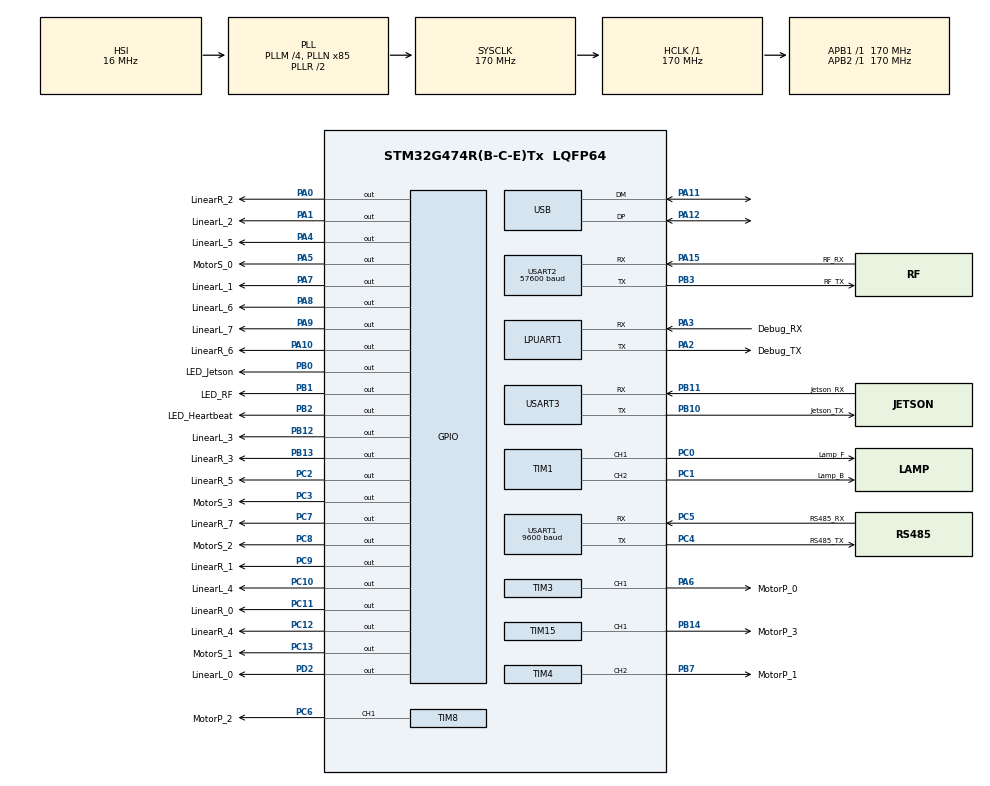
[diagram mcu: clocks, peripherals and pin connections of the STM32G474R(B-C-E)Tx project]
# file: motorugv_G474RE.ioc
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Mcu.Family=STM32G4
Mcu.Name=STM32G474R(B-C-E)Tx
Mcu.Package=LQFP64
NVIC.PriorityGroup=NVIC_PRIORITYGROUP_4
NVIC.USART1_IRQn=true\:0\:0\:false\:false\:true\:true\:true\:true
NVIC.USART2_IRQn=true\:0\:0\:false\:false\:true\:true\:true\:true
NVIC.USART3_IRQn=true\:0\:0\:false\:false\:true\:true\:true\:true
PA0.GPIO_Label=LinearR_2
PA0.Signal=GPIO_Output
PA1.GPIO_Label=LinearL_2
PA1.Signal=GPIO_Output
PA10.GPIO_Label=LinearR_6
PA10.Signal=GPIO_Output
PA11.Mode=Device
PA11.Signal=USB_DM
PA12.Mode=Device
PA12.Signal=USB_DP
PA13.GPIO_Label=T_SWDIO
PA13.Mode=Serial_Wire
PA13.Signal=SYS_JTMS-SWDIO
PA14.GPIO_Label=T_SWCLK
PA14.Mode=Serial_Wire
PA14.Signal=SYS_JTCK-SWCLK
PA15.GPIO_Label=RF_RX
PA15.Mode=Asynchronous
PA15.Signal=USART2_RX
PA2.GPIO_Label=Debug_TX
PA2.Mode=Asynchronous
PA2.Signal=LPUART1_TX
PA3.GPIO_Label=Debug_RX
PA3.Mode=Asynchronous
PA3.Signal=LPUART1_RX
PA4.GPIO_Label=LinearL_5
PA4.Signal=GPIO_Output
PA5.GPIO_Label=MotorS_0
PA5.Signal=GPIO_Output
PA6.GPIO_Label=MotorP_0
PA6.Signal=S_TIM3_CH1
PA7.GPIO_Label=LinearL_1
PA7.Signal=GPIO_Output
PA8.GPIO_Label=LinearL_6
PA8.Signal=GPIO_Output
PA9.GPIO_Label=LinearL_7
PA9.Signal=GPIO_Output
PB0.GPIO_Label=LED_Jetson
PB0.Signal=GPIO_Output
PB1.GPIO_Label=LED_RF
PB1.Signal=GPIO_Output
PB10.GPIO_Label=Jetson_TX
PB10.Mode=Asynchronous
PB10.Signal=USART3_TX
PB11.GPIO_Label=Jetson_RX
PB11.GPIO_PuPd=GPIO_PULLUP
PB11.Mode=Asynchronous
PB11.Signal=USART3_RX
PB12.GPIO_Label=LinearL_3
PB12.Signal=GPIO_Output
PB13.GPIO_Label=LinearR_3
PB13.Signal=GPIO_Output
PB14.GPIO_Label=MotorP_3
PB14.Signal=S_TIM15_CH1
PB2.GPIO_Label=LED_Heartbeat
PB2.Signal=GPIO_Output
PB3.GPIO_Label=RF_TX
PB3.GPIO_PuPd=GPIO_PULLUP
PB3.Mode=Asynchronous
PB3.Signal=USART2_TX
PB7.GPIO_Label=MotorP_1
PB7.Signal=S_TIM4_CH2
PC0.GPIO_Label=Lamp_F
PC0.Signal=S_TIM1_CH1
PC1.GPIO_Label=Lamp_B
PC1.Signal=S_TIM1_CH2
PC10.GPIO_Label=LinearL_4
PC10.Signal=GPIO_Output
PC11.GPIO_Label=LinearR_0
PC11.Signal=GPIO_Output
PC12.GPIO_Label=LinearR_4
PC12.Signal=GPIO_Output
PC13.GPIO_Label=MotorS_1
PC13.Signal=GPIO_Output
PC2.GPIO_Label=LinearR_5
PC2.Signal=GPIO_Output
PC3.GPIO_Label=MotorS_3
PC3.Signal=GPIO_Output
PC4.GPIO_Label=RS485_TX
PC4.Mode=Asynchronous
PC4.Signal=USART1_TX
PC5.GPIO_Label=RS485_RX
PC5.GPIO_PuPd=GPIO_PULLUP
PC5.Mode=Asynchronous
PC5.Signal=USART1_RX
PC6.GPIO_Label=MotorP_2
PC6.Signal=S_TIM8_CH1
PC7.GPIO_Label=LinearR_7
PC7.Signal=GPIO_Output
PC8.GPIO_Label=MotorS_2
PC8.Signal=GPIO_Output
PC9.GPIO_Label=LinearR_1
PC9.Signal=GPIO_Output
PD2.GPIO_Label=LinearL_0
PD2.Signal=GPIO_Output
ProjectManager.HeapSize=0x200
ProjectManager.StackSize=0x400
ProjectManager.TargetToolchain=STM32CubeIDE
RCC.ADC12Freq_Value=170000000
RCC.ADC345Freq_Value=170000000
RCC.AHBFreq_Value=170000000
RCC.APB1Freq_Value=170000000
RCC.APB1TimFreq_Value=170000000
RCC.APB2Freq_Value=170000000
RCC.APB2TimFreq_Value=170000000
RCC.CortexFreq_Value=170000000
RCC.EXTERNAL_CLOCK_VALUE=12288000
RCC.HCLKFreq_Value=170000000
RCC.HSE_VALUE=24000000
RCC.HSI48_VALUE=48000000
RCC.HSI_VALUE=16000000
RCC.LSE_VALUE=32768
RCC.PLLM=RCC_PLLM_DIV4
RCC.PLLN=85
RCC.RTCClockSelection=RCC_RTCCLKSOURCE_LSE
RCC.SYSCLKFreq_VALUE=170000000
RCC.SYSCLKSource=RCC_SYSCLKSOURCE_PLLCLK
RCC.USBFreq_Value=170000000
RCC.VCOOutputFreq_Value=340000000
SH.S_TIM15_CH1.0=TIM15_CH1,Output Compare1 CH1
SH.S_TIM1_CH1.0=TIM1_CH1,PWM Generation1 CH1
SH.S_TIM1_CH2.0=TIM1_CH2,PWM Generation2 CH2
SH.S_TIM3_CH1.0=TIM3_CH1,Output Compare1 CH1
SH.S_TIM4_CH2.0=TIM4_CH2,Output Compare2 CH2
SH.S_TIM8_CH1.0=TIM8_CH1,Output Compare1 CH1
TIM1.Channel-PWM\ Generation1\ CH1=TIM_CHANNEL_1
TIM1.Channel-PWM\ Generation2\ CH2=TIM_CHANNEL_2
TIM15.Channel-Output\ Compare1\ CH1=TIM_CHANNEL_1
TIM15.OCMode_1=TIM_OCMODE_TOGGLE
TIM3.Channel-Output\ Compare1\ CH1=TIM_CHANNEL_1
TIM3.OCMode_1=TIM_OCMODE_TOGGLE
TIM4.Channel-Output\ Compare2\ CH2=TIM_CHANNEL_2
TIM4.OCMode_2=TIM_OCMODE_TOGGLE
TIM8.Channel-Output\ Compare1\ CH1=TIM_CHANNEL_1
TIM8.OCMode_1=TIM_OCMODE_TOGGLE
USART1.BaudRate=9600
USART1.VirtualMode-Asynchronous=VM_ASYNC
USART2.BaudRate=57600
USART2.VirtualMode-Asynchronous=VM_ASYNC
USART3.VirtualMode-Asynchronous=VM_ASYNC
VP_SYS_VS_DBSignals.Mode=DisableDeadBatterySignals
board=NUCLEO-G474RE

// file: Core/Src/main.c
/* USER CODE BEGIN Header */
/**
  ******************************************************************************
  * @file           : main.c
  * @brief          : Main program body
  ******************************************************************************
  * @attention
  *
  * Copyright (c) 2026 STMicroelectronics.
  * All rights reserved.
  *
  * This software is licensed under terms that can be found in the LICENSE file
  * in the root directory of this software component.
  * If no LICENSE file comes with this software, it is provided AS-IS.
  *
  ******************************************************************************
  */
/* USER CODE END Header */
#include "main.h"

/* USER CODE BEGIN Includes */
#include <stdarg.h>
#include <stdio.h>
#include <stdlib.h>
#include <string.h>
/* USER CODE END Includes */

/* USER CODE BEGIN PTD */

typedef struct {
    uint8_t estop;
    int8_t  xJoy1;
    int8_t  yJoy1;
    int8_t  xJoy2;
    int8_t  yJoy2;
    int8_t  zoom;
    uint8_t lrf;
    uint8_t fLamp;
    uint8_t bLamp;
    uint8_t slipRing;
    int8_t  bodyUpDown;
    uint8_t motorIndividualId;
    int8_t  motorIndividualArah;
    uint8_t kalibrasi;
} GcsCommand_t;

/* Command final dari Jetson (Core Node udah mutusin) - lihat brief Fase 4 */
typedef struct {
    int8_t  speed;
    int8_t  act[8];
    uint8_t fLamp;
    uint8_t bLamp;
    uint8_t bLampMode;
    int8_t  pantiltHorizontal;
    int8_t  pantiltVertical;
    int8_t  kameraZoom;
    uint8_t slipRing;
    uint8_t lrfTrigger;
    uint8_t gcsReplyStm32Status;
    uint8_t gcsReplyLrfStatus;
    uint8_t gcsReplyLrfLsb;
    uint8_t gcsReplyLrfMsb;
} JetsonCommand_t;
/* USER CODE END PTD */

/* USER CODE BEGIN PD */
#define JUMLAH_MOTOR        4U
#define JUMLAH_ACTUATOR     8U

#define FREQ_PER_RPM        50U
#define TIMER_CLOCK_HZ      170000000UL   /* HSI 16MHz -> PLL -> 170MHz, SAMA buat semua timer (APB1/APB2 prescaler 1) */

#define LAMP_PWM_ARR        3399U   /* 170MHz / (3400*50) = 1kHz, prescaler 49 (di-set manual di USER CODE 2) */

#define BLINK_INTERVAL_MS   250U
#define LAMPU_MATI          0U
#define LAMPU_NYALA         1U
#define LAMPU_KEDIP         2U

#define RS485_TIMEOUT_MS    100U
#define ALAMAT_KAMERA       1U
#define ALAMAT_BRIDGE_LRF   2U
#define CMD2_BACA_JARAK     0x01U
#define CMD2_POINTER        0x02U

#define GCS_FRAME_LEN       14U  /* estop+xj1+yj1+xj2+yj2+zoom+lrf+flamp+blamp+slipring+bodyupdown+motorid+motorarah+kalibrasi (mode & armWidenNarrow dihapus, gak dipakai) */

#define GCS_REPLY_MARKER    0xA5U /* byte pertama balasan GCS - biar RFLink di gcs_app bisa deteksi frame geser/rusak di udara (RF gak seideal kabel langsung) */
#define GCS_REPLY_LEN       6U    /* marker+stm32_status+lrf_status+lrf_lsb+lrf_msb+checksum(XOR ke-4 byte data) */

#define JETSON_DOWN_LEN     21U  /* Jetson -> STM32: speed+8act+flamp+blamp+blampmode+pantiltH+pantiltV+zoom+slipring+lrftrigger+4 gcsreply */
#define JETSON_UP_LEN       18U  /* STM32 -> Jetson: 14 byte relay GCS + lrf_lsb+lrf_msb+lrf_status+stm32_status */

#define LRF_TRIGGER_IDLE       0U
#define LRF_TRIGGER_BACA_JARAK 1U
#define LRF_TRIGGER_POINTER_ON 2U
#define LRF_TRIGGER_POINTER_OFF 3U

#define LINK_TIMEOUT_MS      500U  /* LED mati + failsafe stop kalau gak ada frame Jetson valid selama ini */
#define HEARTBEAT_INTERVAL_MS 500U

#define UART_TX_TIMEOUT_MS   50U   /* batas HAL_UART_Transmit - jangan HAL_MAX_DELAY, biar main loop gak bisa hang selamanya */
/* USER CODE END PD */

UART_HandleTypeDef hlpuart1;
UART_HandleTypeDef huart1;
UART_HandleTypeDef huart2;
UART_HandleTypeDef huart3;

TIM_HandleTypeDef htim1;
TIM_HandleTypeDef htim3;
TIM_HandleTypeDef htim4;
TIM_HandleTypeDef htim8;
TIM_HandleTypeDef htim15;

PCD_HandleTypeDef hpcd_USB_FS;

/* USER CODE BEGIN PV */
typedef struct {
    GPIO_TypeDef *portRPWM;
    uint16_t      pinRPWM;
    GPIO_TypeDef *portLPWM;
    uint16_t      pinLPWM;
} ActuatorPin_t;

static const ActuatorPin_t actuatorTable[JUMLAH_ACTUATOR] = {
    /* 0  */ { LinearR_0_GPIO_Port,  LinearR_0_Pin,  LinearL_0_GPIO_Port,  LinearL_0_Pin  },
    /* 1  */ { LinearR_1_GPIO_Port,  LinearR_1_Pin,  LinearL_1_GPIO_Port,  LinearL_1_Pin  },
    /* 2  */ { LinearR_2_GPIO_Port,  LinearR_2_Pin,  LinearL_2_GPIO_Port,  LinearL_2_Pin  },
    /* 3  */ { LinearR_3_GPIO_Port,  LinearR_3_Pin,  LinearL_3_GPIO_Port,  LinearL_3_Pin  },
    /* 4  */ { LinearR_4_GPIO_Port,  LinearR_4_Pin,  LinearL_4_GPIO_Port,  LinearL_4_Pin  },
    /* 5  */ { LinearR_5_GPIO_Port,  LinearR_5_Pin,  LinearL_5_GPIO_Port,  LinearL_5_Pin  },
    /* 6  */ { LinearR_6_GPIO_Port,  LinearR_6_Pin,  LinearL_6_GPIO_Port,  LinearL_6_Pin  },
    /* 7  */ { LinearR_7_GPIO_Port,  LinearR_7_Pin,  LinearL_7_GPIO_Port,  LinearL_7_Pin  },
};

/* TODO: proteksi stall - durasi maks HIGH per actuator belum ditentukan.
 * Isi array ini nanti kalau sudah ada angka pasti dari tes fisik, lalu
 * tambah pengecekan di main loop mirip CekWatchdog(). */
static uint32_t waktuMulaiAktif[JUMLAH_ACTUATOR];
static int8_t   arahTerakhir[JUMLAH_ACTUATOR];
static const int8_t ARAH_FISIK_MOTOR[JUMLAH_MOTOR] = {1, -1, 1, -1};

volatile uint8_t statusLampuBelakang = LAMPU_MATI;
uint8_t lampuBelakangBrightness = 0;
uint32_t waktuBlinkTerakhir = 0;
uint8_t statusBlinkSekarang = 0;

/* ---- Komunikasi GCS/RF (USART2, 14 byte request / 4 byte reply) ---- */
static uint8_t gcsRxBuf[GCS_FRAME_LEN];
static uint8_t gcsFrameKerja[GCS_FRAME_LEN];
volatile uint8_t gcsFrameSiap = 0;
static uint8_t gcsFrameTerakhir[GCS_FRAME_LEN];      /* buat di-relay ke Jetson */
static uint8_t gcsBalasanCache[4] = {1U, 0U, 0U, 0U}; /* diisi Jetson lewat down-frame, default aman */

/* ---- Komunikasi Jetson (USART3, 21 byte down / 18 byte up) ---- */
static uint8_t jetsonRxBuf[JETSON_DOWN_LEN];
static uint8_t jetsonFrameKerja[JETSON_DOWN_LEN];
volatile uint8_t jetsonFrameSiap = 0;
static uint16_t lrfJarakTerakhir = 0;
static uint8_t  lrfStatusTerakhir = 0;

/* ---- LED indikator (heartbeat + status link) ---- */
static uint32_t waktuFrameJetsonTerakhir = 0;
static uint32_t waktuFrameGcsTerakhir = 0;
static uint32_t waktuHeartbeatTerakhir = 0;
static uint8_t  statusHeartbeat = 0;

/* ---- Anti-spam RS485 (cuma kirim pas berubah) - file-scope biar bisa
 * dipicu paksa ke STOP dari failsafe di main loop juga, gak cuma dari
 * JetsonApplyCommand. Sentinel awal DILUAR rentang valid biar frame
 * pertama pasti dianggap "berubah". */
static int8_t  pantiltHorizontalTerakhir = 127;
static int8_t  pantiltVerticalTerakhir = 127;
static int8_t  kameraZoomTerakhir = 127;
static uint8_t slipRingTerakhir = 0xFFU;
static uint8_t lrfPointerTerakhir = 0xFFU;

/* USER CODE END PV */

void SystemClock_Config(void);
static void MX_GPIO_Init(void);
static void MX_TIM1_Init(void);
static void MX_TIM3_Init(void);
static void MX_TIM4_Init(void);
static void MX_USART1_UART_Init(void);
static void MX_USART2_UART_Init(void);
static void MX_USART3_UART_Init(void);
static void MX_TIM8_Init(void);
static void MX_TIM15_Init(void);
static void MX_USB_PCD_Init(void);
static void MX_LPUART1_UART_Init(void);
/* USER CODE BEGIN PFP */
static void SetActuator(uint8_t index, int8_t dir);
static void StopSemuaActuator(void);
static void setPulseFreq(TIM_HandleTypeDef *htim, uint32_t channel, int32_t speed);
static void setMotor(uint8_t index, int32_t speedWheelSpace);
static void stopSemuaMotor(void);
static void Lamp_SetBrightness(TIM_HandleTypeDef *htim, uint32_t channel, uint8_t percent);
static void setLampuBelakang(uint8_t brightness, uint8_t state);
static void DebugPrint(const char *format, ...);

static void RS485_KirimFrame(const uint8_t *frame, uint8_t panjang);

static uint8_t Pantilt_Checksum(const uint8_t *payload5);
static void Pantilt_Kirim(const uint8_t *payload5);
static void Pantilt_Gerak(int8_t horizontal, int8_t vertical);
static void Pantilt_PowerSlipRing(uint8_t nyala);

static uint8_t Pelco_Checksum(uint8_t alamat, uint8_t cmd1, uint8_t cmd2, uint8_t data1, uint8_t data2);
static void Pelco_Kirim(uint8_t alamat, uint8_t cmd1, uint8_t cmd2, uint8_t data1, uint8_t data2);
static void Kamera_ZoomIn(void);
static void Kamera_ZoomOut(void);
static void Kamera_ZoomStop(void);

static void BridgeLrf_Kirim(uint8_t cmd2, uint8_t data1, uint8_t data2);
static uint8_t BridgeLrf_BacaRespons(uint8_t *cmd2Out, uint8_t *data1Out, uint8_t *data2Out);
static uint8_t BridgeLrf_BacaJarak(uint16_t *jarakDesimeterOut);
static uint8_t BridgeLrf_Pointer(uint8_t nyala);

static void GcsParseFrame(const uint8_t *frame14, GcsCommand_t *out);
static void JetsonParseFrame(const uint8_t *frame24, JetsonCommand_t *out);
static void JetsonApplyCommand(const JetsonCommand_t *cmd);
static void JetsonBangunUpFrame(uint8_t *frameOut18);

/* USER CODE END PFP */

/* USER CODE BEGIN 0 */
/* ============================================================================
 * LAYER 1 - nyentuh hardware langsung
 * ==========================================================================*/

static void SetActuator(uint8_t index, int8_t dir) {
    if (index >= JUMLAH_ACTUATOR) return;
    const ActuatorPin_t *a = &actuatorTable[index];

    if (dir > 0) {
        HAL_GPIO_WritePin(a->portRPWM, a->pinRPWM, GPIO_PIN_SET);
        HAL_GPIO_WritePin(a->portLPWM, a->pinLPWM, GPIO_PIN_RESET);
    } else if (dir < 0) {
        HAL_GPIO_WritePin(a->portRPWM, a->pinRPWM, GPIO_PIN_RESET);
        HAL_GPIO_WritePin(a->portLPWM, a->pinLPWM, GPIO_PIN_SET);
    } else {
        HAL_GPIO_WritePin(a->portRPWM, a->pinRPWM, GPIO_PIN_RESET);
        HAL_GPIO_WritePin(a->portLPWM, a->pinLPWM, GPIO_PIN_RESET);
    }

    if (dir != arahTerakhir[index]) {
        waktuMulaiAktif[index] = HAL_GetTick();
        arahTerakhir[index] = dir;
    }
}

static void setPulseFreq(TIM_HandleTypeDef *htim, uint32_t channel, int32_t speed) {
    if (speed == 0) {
        HAL_TIM_OC_Stop(htim, channel);
        return;
    }
    uint32_t freqHz = (uint32_t)(abs(speed)) * FREQ_PER_RPM;
    uint32_t maxArr = 65535UL;
    uint32_t prescaler = 1;
    uint32_t arr;
    do {
        arr = (TIMER_CLOCK_HZ / (2UL * prescaler * freqHz));
        if (arr > 0) arr -= 1;
        if (arr <= maxArr) break;
        prescaler *= 2;
    } while (prescaler < 65536UL);
    __HAL_TIM_SET_PRESCALER(htim, prescaler - 1);
    __HAL_TIM_SET_AUTORELOAD(htim, arr);
    HAL_TIM_OC_Start(htim, channel);
}

static void Lamp_SetBrightness(TIM_HandleTypeDef *htim, uint32_t channel, uint8_t percent) {
    if (percent > 100U) percent = 100U;
    uint32_t ccr = ((uint32_t)percent * (LAMP_PWM_ARR + 1U)) / 100U;
    __HAL_TIM_SET_COMPARE(htim, channel, ccr);
}

/* ============================================================================
 * LAYER 2 - grouping, manggil Layer 1
 * ==========================================================================*/

static void StopSemuaActuator(void) {
    for (uint8_t i = 0; i < JUMLAH_ACTUATOR; i++) {
        SetActuator(i, 0);
    }
}

static void setMotor(uint8_t index, int32_t speedWheelSpace) {
    if (speedWheelSpace > 100) speedWheelSpace = 100;
    if (speedWheelSpace < -100) speedWheelSpace = -100;
    int8_t arahPulsa = (speedWheelSpace >= 0 ? 1 : -1) * ARAH_FISIK_MOTOR[index];
    GPIO_PinState levelSign = (arahPulsa >= 0) ? GPIO_PIN_SET : GPIO_PIN_RESET;
    switch (index) {
        case 0:
            HAL_GPIO_WritePin(MotorS_0_GPIO_Port, MotorS_0_Pin, levelSign);
            setPulseFreq(&htim3, TIM_CHANNEL_1, speedWheelSpace);
            break;
        case 1:
            HAL_GPIO_WritePin(MotorS_1_GPIO_Port, MotorS_1_Pin, levelSign);
            setPulseFreq(&htim4, TIM_CHANNEL_2, speedWheelSpace);
            break;
        case 2:
            HAL_GPIO_WritePin(MotorS_2_GPIO_Port, MotorS_2_Pin, levelSign);
            setPulseFreq(&htim8, TIM_CHANNEL_1, speedWheelSpace);
            break;
        case 3:
            HAL_GPIO_WritePin(MotorS_3_GPIO_Port, MotorS_3_Pin, levelSign);
            setPulseFreq(&htim15, TIM_CHANNEL_1, speedWheelSpace);
            break;
        default:
            break;
    }
}

static void stopSemuaMotor(void) {
    for (uint8_t i = 0; i < JUMLAH_MOTOR; i++) {
        setMotor(i, 0);
    }
}

static void setLampuBelakang(uint8_t brightness, uint8_t state) {
    if (state > LAMPU_KEDIP) state = LAMPU_KEDIP;
    if (brightness > 100U) brightness = 100U;

    statusLampuBelakang = state;
    lampuBelakangBrightness = brightness;

    if (state == LAMPU_MATI) {
        Lamp_SetBrightness(&htim1, TIM_CHANNEL_2, 0);
    } else if (state == LAMPU_NYALA) {
        Lamp_SetBrightness(&htim1, TIM_CHANNEL_2, brightness);
    }
    /* LAMPU_KEDIP: gak di-set di sini - main loop yang toggle brightness<->0 */
}

/* ============================================================================
 * DEBUG - print lewat LPUART1 (ST-LINK VCP)
 * ==========================================================================*/

static void DebugPrint(const char *format, ...)
{
    char buffer[128];
    va_list args;
    va_start(args, format);
    int panjang = vsnprintf(buffer, sizeof(buffer), format, args);
    va_end(args);
    HAL_UART_Transmit(&hlpuart1, (uint8_t *)buffer, (uint16_t)panjang, UART_TX_TIMEOUT_MS);
}

/* ============================================================================
 * RS485 - pantilt + kamera + LRF-bridge, 1 bus fisik bareng (USART1, 9600)
 * ==========================================================================*/

static void RS485_KirimFrame(const uint8_t *frame, uint8_t panjang) {
    HAL_UART_Transmit(&huart1, (uint8_t *)frame, panjang, UART_TX_TIMEOUT_MS);
}

/* ---- Pantilt (protokol custom, hasil reverse-engineer - lihat
 * test_bus_pantilt_kamera_lrf.py) ---- */

static uint8_t Pantilt_Checksum(const uint8_t *payload5) {
    uint8_t sum = 0;
    for (uint8_t i = 0; i < 5U; i++) {
        if (payload5[i] != 0xFFU) sum += payload5[i];
    }
    return sum;
}

static void Pantilt_Kirim(const uint8_t *payload5) {
    uint8_t frame[7];
    frame[0] = 0xFF;
    for (uint8_t i = 0; i < 5U; i++) frame[1U + i] = payload5[i];
    frame[6] = Pantilt_Checksum(payload5);
    RS485_KirimFrame(frame, 7U);
}

/* cmd2 itu bitmask arah (ketauan dari pola lama: kiri=0x04, kanan=0x02,
 * atas=0x08, bawah=0x10 - masing-masing 1 bit terpisah), jadi horizontal
 * & vertical bisa di-OR bareng buat gerak diagonal. data1=kecepatan
 * horizontal (dipakai kalau ada gerak kiri/kanan), data2=kecepatan
 * vertical (dipakai kalau ada gerak atas/bawah) - keduanya bisa aktif
 * bareng buat diagonal. */
static void Pantilt_Gerak(int8_t horizontal, int8_t vertical) {
    uint8_t cmd2 = 0x00;
    uint8_t data1 = 0x00;
    uint8_t data2 = 0x00;

    if (horizontal > 0) {
        cmd2 |= 0x02U; /* kanan */
        data1 = 0x3FU;
    } else if (horizontal < 0) {
        cmd2 |= 0x04U; /* kiri */
        data1 = 0x3FU;
    }

    if (vertical > 0) {
        cmd2 |= 0x08U; /* atas */
        data2 = 0x3FU;
    } else if (vertical < 0) {
        cmd2 |= 0x10U; /* bawah */
        data2 = 0x3FU;
    }

    uint8_t payload5[5] = { 0x00, 0x00, cmd2, data1, data2 };
    Pantilt_Kirim(payload5);
}

static void Pantilt_PowerSlipRing(uint8_t nyala) {
    uint8_t payload5[5] = { 0x00, 0x00, (uint8_t)(nyala ? 0x09U : 0x0BU), 0x00, 0x02 };
    Pantilt_Kirim(payload5);
}

/* BELUM DIIMPLEMENTASI (sengaja) - pantilt sebenernya BISA dibaca sudutnya,
 * beda dari command gerak/slip ring yang emang gak pernah balas. Referensi:
 * Testcode/test_bus_pantilt_kamera_lrf.py -> pantilt_baca_sudut().
 * Kirim payload5 = {0x00,0x00,cmd2,0x00,0x00}, cmd2: 0x51=azimuth, 0x53=elevasi.
 * Baca respons 7 byte (pola sama kayak Pantilt_Kirim, checksum pakai
 * Pantilt_Checksum), payload[3] & payload[4] = data encoder mentah, lalu:
 *   elevasi = 2.694879023302476*data[3] + 1.1455831934909497*data[4]/100 - 73.36566910656754
 *   azimuth = 2.447221740538158*data[3] + (-2.2315937758949502)*data[4]/100 - 69.7511885011599
 * Kalau nanti mau diimplementasi: butuh field trigger baru di down-frame
 * Jetson (mirip lrfTrigger) + field balik di up-frame buat hasil sudutnya. */

/* ---- Kamera + LRF-bridge, sama-sama bungkus Pelco-D (lihat
 * test_bus_pantilt_kamera_lrf.py) ---- */

static uint8_t Pelco_Checksum(uint8_t alamat, uint8_t cmd1, uint8_t cmd2, uint8_t data1, uint8_t data2) {
    return (uint8_t)(alamat + cmd1 + cmd2 + data1 + data2);
}

static void Pelco_Kirim(uint8_t alamat, uint8_t cmd1, uint8_t cmd2, uint8_t data1, uint8_t data2) {
    uint8_t frame[7];
    frame[0] = 0xFF;
    frame[1] = alamat;
    frame[2] = cmd1;
    frame[3] = cmd2;
    frame[4] = data1;
    frame[5] = data2;
    frame[6] = Pelco_Checksum(alamat, cmd1, cmd2, data1, data2);
    RS485_KirimFrame(frame, 7U);
}

static void Kamera_ZoomIn(void)   { Pelco_Kirim(ALAMAT_KAMERA, 0x00, 0x20, 0x00, 0x00); }
static void Kamera_ZoomOut(void)  { Pelco_Kirim(ALAMAT_KAMERA, 0x00, 0x40, 0x00, 0x00); }
static void Kamera_ZoomStop(void) { Pelco_Kirim(ALAMAT_KAMERA, 0x00, 0x00, 0x00, 0x00); }

static void BridgeLrf_Kirim(uint8_t cmd2, uint8_t data1, uint8_t data2) {
    Pelco_Kirim(ALAMAT_BRIDGE_LRF, 0x00, cmd2, data1, data2);
}

static uint8_t BridgeLrf_BacaRespons(uint8_t *cmd2Out, uint8_t *data1Out, uint8_t *data2Out) {
    uint8_t frame[7];
    if (HAL_UART_Receive(&huart1, frame, 7U, RS485_TIMEOUT_MS) != HAL_OK) return 0U;
    if (Pelco_Checksum(frame[1], frame[2], frame[3], frame[4], frame[5]) != frame[6]) return 0U;
    *cmd2Out  = frame[3];
    *data1Out = frame[4];
    *data2Out = frame[5];
    return 1U;
}

static uint8_t BridgeLrf_BacaJarak(uint16_t *jarakDesimeterOut) {
    uint8_t cmd2, data1, data2;
    BridgeLrf_Kirim(CMD2_BACA_JARAK, 0x00, 0x00);
    if (!BridgeLrf_BacaRespons(&cmd2, &data1, &data2)) return 0U;
    *jarakDesimeterOut = (uint16_t)data1 | ((uint16_t)data2 << 8);
    return 1U;
}

static uint8_t BridgeLrf_Pointer(uint8_t nyala) {
    uint8_t cmd2, data1, data2;
    BridgeLrf_Kirim(CMD2_POINTER, (uint8_t)(nyala ? 1U : 0U), 0x00);
    return BridgeLrf_BacaRespons(&cmd2, &data1, &data2);
}

/* ============================================================================
 * GCS/RF - USART2, 57600. STM32 DIDIAMKAN dengerin (interrupt), balas begitu
 * 14 byte lengkap diterima, dengan 6 byte ber-marker+checksum (GCS_REPLY_MARKER
 * + 4 byte status + XOR checksum) - link ini lewat RF beneran (bukan kabel),
 * jadi byte bisa geser/rusak di udara, makanya dikasih proteksi minimal biar
 * gcs_app bisa deteksi & buang balasan yang gak valid alih-alih salah baca
 * byte acak sebagai status. Status yang dibalas diambil dari gcsBalasanCache
 * (diisi Jetson lewat down-frame - lihat JetsonApplyCommand).
 * ==========================================================================*/

static void GcsParseFrame(const uint8_t *frame14, GcsCommand_t *out) {
    out->estop               = frame14[0];
    out->xJoy1                = (int8_t)frame14[1];
    out->yJoy1                = (int8_t)frame14[2];
    out->xJoy2                = (int8_t)frame14[3];
    out->yJoy2                = (int8_t)frame14[4];
    out->zoom                 = (int8_t)frame14[5];
    out->lrf                  = frame14[6];
    out->fLamp                = frame14[7];
    out->bLamp                = frame14[8];
    out->slipRing             = frame14[9];
    out->bodyUpDown           = (int8_t)frame14[10];
    out->motorIndividualId    = frame14[11];
    out->motorIndividualArah  = (int8_t)frame14[12];
    out->kalibrasi            = frame14[13];
}

/* ============================================================================
 * Jetson - USART3, 115200. Jetson yang inisiatif (heartbeat ~20Hz), STM32
 * APPLY command yang diterima LANGSUNG (motor/actuator/lampu/RS485), lalu
 * balas 18 byte (relay GCS terakhir + status LRF real-time).
 * ==========================================================================*/

static void JetsonParseFrame(const uint8_t *frame24, JetsonCommand_t *out) {
    out->speed = (int8_t)frame24[0];
    for (uint8_t i = 0; i < JUMLAH_ACTUATOR; i++) {
        out->act[i] = (int8_t)frame24[1U + i];
    }
    out->fLamp               = frame24[9];
    out->bLamp                = frame24[10];
    out->bLampMode             = frame24[11];
    out->pantiltHorizontal     = (int8_t)frame24[12];
    out->pantiltVertical       = (int8_t)frame24[13];
    out->kameraZoom            = (int8_t)frame24[14];
    out->slipRing              = frame24[15];
    out->lrfTrigger            = frame24[16];
    out->gcsReplyStm32Status   = frame24[17];
    out->gcsReplyLrfStatus     = frame24[18];
    out->gcsReplyLrfLsb        = frame24[19];
    out->gcsReplyLrfMsb        = frame24[20];
}

static void JetsonApplyCommand(const JetsonCommand_t *cmd) {
    for (uint8_t i = 0; i < JUMLAH_MOTOR; i++) {
        setMotor(i, cmd->speed);
    }
    for (uint8_t i = 0; i < JUMLAH_ACTUATOR; i++) {
        SetActuator(i, cmd->act[i]);
    }
    Lamp_SetBrightness(&htim1, TIM_CHANNEL_1, cmd->fLamp);
    setLampuBelakang(cmd->bLamp, cmd->bLampMode);

    /* RS485 (pantilt/kamera/slip ring) CUMA dikirim kalau nilainya BERUBAH
     * dari siklus sebelumnya - bukan tiap ada frame Jetson masuk (~10-20Hz).
     * Tanpa ini, bus RS485 digempur command identik terus-menerus.
     * pantiltHorizontal & pantiltVertical BISA aktif bareng (diagonal) -
     * dikirim ulang kalau SALAH SATU dari keduanya berubah. */
    if (cmd->pantiltHorizontal != pantiltHorizontalTerakhir
            || cmd->pantiltVertical != pantiltVerticalTerakhir) {
        Pantilt_Gerak(cmd->pantiltHorizontal, cmd->pantiltVertical);
        pantiltHorizontalTerakhir = cmd->pantiltHorizontal;
        pantiltVerticalTerakhir = cmd->pantiltVertical;
    }

    if (cmd->kameraZoom != kameraZoomTerakhir) {
        if (cmd->kameraZoom > 0) {
            Kamera_ZoomIn();
        } else if (cmd->kameraZoom < 0) {
            Kamera_ZoomOut();
        } else {
            Kamera_ZoomStop();
        }
        kameraZoomTerakhir = cmd->kameraZoom;
    }

    if (cmd->slipRing != slipRingTerakhir) {
        Pantilt_PowerSlipRing(cmd->slipRing);
        slipRingTerakhir = cmd->slipRing;
    }

    if (cmd->lrfTrigger == LRF_TRIGGER_BACA_JARAK) {
        /* Query, SENGAJA gak di-anti-spam - boleh di-request berkali-kali
         * (misal Core Node kirim ini 1 frame doang pas tombol LRF dilepas). */
        uint16_t jarak;
        if (BridgeLrf_BacaJarak(&jarak)) {
            lrfJarakTerakhir = jarak;
            lrfStatusTerakhir = 1U;
        } else {
            lrfStatusTerakhir = 0U;
        }
    } else if (cmd->lrfTrigger == LRF_TRIGGER_POINTER_ON) {
        /* State (laser nyala terus sampai dimatiin) - DI-ANTI-SPAM, beda
         * sama baca jarak. Core Node bebas kirim 2 (pointer on) tiap frame
         * selama tombol LRF di-hold, STM32 yang nyaring biar RS485 gak
         * digempur "nyalain laser" berkali-kali per detik. */
        if (lrfPointerTerakhir != 1U) {
            BridgeLrf_Pointer(1U);
            lrfPointerTerakhir = 1U;
        }
    } else if (cmd->lrfTrigger == LRF_TRIGGER_POINTER_OFF) {
        if (lrfPointerTerakhir != 0U) {
            BridgeLrf_Pointer(0U);
            lrfPointerTerakhir = 0U;
        }
    }

    /* Simpan buat balasan ke GCS BERIKUTNYA - Jetson yang mutusin isinya,
     * STM32 cuma relay apa adanya (prinsip dumb driver). */
    gcsBalasanCache[0] = cmd->gcsReplyStm32Status;
    gcsBalasanCache[1] = cmd->gcsReplyLrfStatus;
    gcsBalasanCache[2] = cmd->gcsReplyLrfLsb;
    gcsBalasanCache[3] = cmd->gcsReplyLrfMsb;
}

static void JetsonBangunUpFrame(uint8_t *frameOut18) {
    memcpy(frameOut18, gcsFrameTerakhir, GCS_FRAME_LEN); /* relay 14 byte GCS APA ADANYA */
    frameOut18[GCS_FRAME_LEN + 0] = (uint8_t)(lrfJarakTerakhir & 0xFFU);
    frameOut18[GCS_FRAME_LEN + 1] = (uint8_t)((lrfJarakTerakhir >> 8) & 0xFFU);
    frameOut18[GCS_FRAME_LEN + 2] = lrfStatusTerakhir;
    frameOut18[GCS_FRAME_LEN + 3] = 1U; /* stm32Status: sehat */
}

/* ============================================================================
 * LAYER 4 - komunikasi & housekeeping
 * ==========================================================================*/

/* Pakai ReceiveToIdle (bukan HAL_UART_RxCpltCallback biasa) - ini yang
 * bikin STM32 otomatis "sinkron ulang" tiap ada jeda hening di jalur UART
 * (natural ada karena GCS/Jetson kirim per-siklus, gak nonstop). Kalau byte
 * yang ke-nangkep JUMLAHNYA gak pas, frame itu DIBUANG, bukan dipaksa
 * diproses - jadi gak ada lagi kejadian "kegeser permanen" kayak yang
 * ketemu waktu testing GCS. */
void HAL_UARTEx_RxEventCallback(UART_HandleTypeDef *huart, uint16_t Size) {
    if (huart->Instance == USART2) {
        if (Size == GCS_FRAME_LEN) {
            waktuFrameGcsTerakhir = HAL_GetTick();
            if (gcsFrameSiap == 0) {
                memcpy(gcsFrameKerja, gcsRxBuf, GCS_FRAME_LEN);
                gcsFrameSiap = 1;
            }
        }
        HAL_UARTEx_ReceiveToIdle_IT(&huart2, gcsRxBuf, GCS_FRAME_LEN);
    } else if (huart->Instance == USART3) {
        if (Size == JETSON_DOWN_LEN) {
            waktuFrameJetsonTerakhir = HAL_GetTick();
            if (jetsonFrameSiap == 0) {
                memcpy(jetsonFrameKerja, jetsonRxBuf, JETSON_DOWN_LEN);
                jetsonFrameSiap = 1;
            }
        }
        HAL_UARTEx_ReceiveToIdle_IT(&huart3, jetsonRxBuf, JETSON_DOWN_LEN);
    }
}

void HAL_UART_ErrorCallback(UART_HandleTypeDef *huart) {
    if (huart->Instance == USART2) {
        HAL_UARTEx_ReceiveToIdle_IT(&huart2, gcsRxBuf, GCS_FRAME_LEN);
    } else if (huart->Instance == USART3) {
        HAL_UARTEx_ReceiveToIdle_IT(&huart3, jetsonRxBuf, JETSON_DOWN_LEN);
    }
}

/* USER CODE END 0 */

int main(void)
{

  /* MCU Configuration--------------------------------------------------------*/

  /* Reset of all peripherals, Initializes the Flash interface and the Systick. */
  HAL_Init();

  /* Configure the system clock */
  SystemClock_Config();

  /* Initialize all configured peripherals */
  MX_GPIO_Init();
  MX_TIM1_Init();
  MX_TIM3_Init();
  MX_TIM4_Init();
  MX_USART1_UART_Init();
  MX_USART2_UART_Init();
  MX_USART3_UART_Init();
  MX_TIM8_Init();
  MX_TIM15_Init();
  MX_USB_PCD_Init();
  MX_LPUART1_UART_Init();
  /* USER CODE BEGIN 2 */
  stopSemuaMotor();
  StopSemuaActuator();

  HAL_TIM_PWM_Start(&htim1, TIM_CHANNEL_1);
  HAL_TIM_PWM_Start(&htim1, TIM_CHANNEL_2);
  __HAL_TIM_SET_PRESCALER(&htim1, 49);
  __HAL_TIM_SET_AUTORELOAD(&htim1, LAMP_PWM_ARR);

  Lamp_SetBrightness(&htim1, TIM_CHANNEL_1, 0);
  setLampuBelakang(100, LAMPU_NYALA);

  memset(gcsFrameTerakhir, 0, GCS_FRAME_LEN);
  HAL_UARTEx_ReceiveToIdle_IT(&huart2, gcsRxBuf, GCS_FRAME_LEN);
  HAL_UARTEx_ReceiveToIdle_IT(&huart3, jetsonRxBuf, JETSON_DOWN_LEN);

  DebugPrint("\r\n=== motorugv_G474RE Boot OK ===\r\n");

  /* USER CODE END 2 */

  /* Infinite loop */
  /* USER CODE BEGIN WHILE */
  while (1)
  {
    if (statusLampuBelakang == LAMPU_KEDIP) {
        if (HAL_GetTick() - waktuBlinkTerakhir >= BLINK_INTERVAL_MS) {
            statusBlinkSekarang = !statusBlinkSekarang;
            Lamp_SetBrightness(&htim1, TIM_CHANNEL_2,
                statusBlinkSekarang ? lampuBelakangBrightness : 0);
            waktuBlinkTerakhir = HAL_GetTick();
        }
    }

    /* LED heartbeat - blink terus tiap HEARTBEAT_INTERVAL_MS, bukti main loop
     * masih jalan (beda sama LED link yang bisa nyala terus walau loop hang,
     * karena itu cuma ngecek timestamp). */
    if (HAL_GetTick() - waktuHeartbeatTerakhir >= HEARTBEAT_INTERVAL_MS) {
        statusHeartbeat = !statusHeartbeat;
        HAL_GPIO_WritePin(LED_Heartbeat_GPIO_Port, LED_Heartbeat_Pin,
            statusHeartbeat ? GPIO_PIN_SET : GPIO_PIN_RESET);
        waktuHeartbeatTerakhir = HAL_GetTick();
    }

    /* LED status link - nyala kalau ada frame VALID dalam LINK_TIMEOUT_MS
     * terakhir, mati kalau link putus/timeout. */
    HAL_GPIO_WritePin(LED_Jetson_GPIO_Port, LED_Jetson_Pin,
        (HAL_GetTick() - waktuFrameJetsonTerakhir < LINK_TIMEOUT_MS) ? GPIO_PIN_SET : GPIO_PIN_RESET);
    HAL_GPIO_WritePin(LED_RF_GPIO_Port, LED_RF_Pin,
        (HAL_GetTick() - waktuFrameGcsTerakhir < LINK_TIMEOUT_MS) ? GPIO_PIN_SET : GPIO_PIN_RESET);

    /* FAILSAFE: kalau Jetson gak kirim frame valid selama LINK_TIMEOUT_MS,
     * paksa berhenti - jangan terus nurut command terakhir tanpa batas
     * waktu cuma karena link putus (Jetson mati/hang/USB kecabut, dll).
     * Motor/actuator aman di-stop tiap loop (idempoten, murah). Pantilt/
     * kamera RS485 SENGAJA dijaga cuma kirim SEKALI pas transisi ke
     * failsafe (guard pakai tracker anti-spam yang sama) - biar gak balik
     * spam RS485 gara-gara loop ini muter terus selama link masih putus. */
    if (HAL_GetTick() - waktuFrameJetsonTerakhir >= LINK_TIMEOUT_MS) {
        stopSemuaMotor();
        StopSemuaActuator();
        if (pantiltHorizontalTerakhir != 0 || pantiltVerticalTerakhir != 0) {
            Pantilt_Gerak(0, 0);
            pantiltHorizontalTerakhir = 0;
            pantiltVerticalTerakhir = 0;
        }
        if (kameraZoomTerakhir != 0) {
            Kamera_ZoomStop();
            kameraZoomTerakhir = 0;
        }
        if (slipRingTerakhir != 0) {
            Pantilt_PowerSlipRing(0);
            slipRingTerakhir = 0;
        }
        if (lrfPointerTerakhir != 0U) {
            BridgeLrf_Pointer(0U);
            lrfPointerTerakhir = 0U;
        }
    }

    if (jetsonFrameSiap) {
        uint8_t salinanJetson[JETSON_DOWN_LEN];
        memcpy(salinanJetson, jetsonFrameKerja, JETSON_DOWN_LEN);
        jetsonFrameSiap = 0;

        JetsonCommand_t cmd;
        JetsonParseFrame(salinanJetson, &cmd);
        JetsonApplyCommand(&cmd);

        uint8_t upFrame[JETSON_UP_LEN];
        JetsonBangunUpFrame(upFrame);
        HAL_UART_Transmit(&huart3, upFrame, JETSON_UP_LEN, UART_TX_TIMEOUT_MS);

        DebugPrint("Jetson RX: speed=%d flamp=%u blamp=%u pantiltH=%d pantiltV=%d zoom=%d lrfTrig=%u\r\n",
            cmd.speed, cmd.fLamp, cmd.bLamp, cmd.pantiltHorizontal, cmd.pantiltVertical, cmd.kameraZoom, cmd.lrfTrigger);
    }

    if (gcsFrameSiap) {
        uint8_t salinanGcs[GCS_FRAME_LEN];
        memcpy(salinanGcs, gcsFrameKerja, GCS_FRAME_LEN);
        gcsFrameSiap = 0;

        memcpy(gcsFrameTerakhir, salinanGcs, GCS_FRAME_LEN); /* buat di-relay ke Jetson */

        GcsCommand_t cmd;
        GcsParseFrame(salinanGcs, &cmd);

        DebugPrint("GCS RX: estop=%u xj1=%d yj1=%d xj2=%d yj2=%d flamp=%u blamp=%u kalibrasi=%u\r\n",
            cmd.estop, cmd.xJoy1, cmd.yJoy1, cmd.xJoy2, cmd.yJoy2,
            cmd.fLamp, cmd.bLamp, cmd.kalibrasi);

        uint8_t balasanFrame[GCS_REPLY_LEN];
        balasanFrame[0] = GCS_REPLY_MARKER;
        balasanFrame[1] = gcsBalasanCache[0];
        balasanFrame[2] = gcsBalasanCache[1];
        balasanFrame[3] = gcsBalasanCache[2];
        balasanFrame[4] = gcsBalasanCache[3];
        balasanFrame[5] = (uint8_t)(balasanFrame[1] ^ balasanFrame[2] ^ balasanFrame[3] ^ balasanFrame[4]);
        HAL_UART_Transmit(&huart2, balasanFrame, GCS_REPLY_LEN, UART_TX_TIMEOUT_MS);
    }

    /* USER CODE END WHILE */

  }
}

void SystemClock_Config(void)
{
  RCC_OscInitTypeDef RCC_OscInitStruct = {0};
  RCC_ClkInitTypeDef RCC_ClkInitStruct = {0};

  /** Configure the main internal regulator output voltage
  */
  HAL_PWREx_ControlVoltageScaling(PWR_REGULATOR_VOLTAGE_SCALE1_BOOST);

  /** Initializes the RCC Oscillators according to the specified parameters
  * in the RCC_OscInitTypeDef structure.
  */
  RCC_OscInitStruct.OscillatorType = RCC_OSCILLATORTYPE_HSI;
  RCC_OscInitStruct.HSIState = RCC_HSI_ON;
  RCC_OscInitStruct.HSICalibrationValue = RCC_HSICALIBRATION_DEFAULT;
  RCC_OscInitStruct.PLL.PLLState = RCC_PLL_ON;
  RCC_OscInitStruct.PLL.PLLSource = RCC_PLLSOURCE_HSI;
  RCC_OscInitStruct.PLL.PLLM = RCC_PLLM_DIV4;
  RCC_OscInitStruct.PLL.PLLN = 85;
  RCC_OscInitStruct.PLL.PLLP = RCC_PLLP_DIV2;
  RCC_OscInitStruct.PLL.PLLQ = RCC_PLLQ_DIV2;
  RCC_OscInitStruct.PLL.PLLR = RCC_PLLR_DIV2;
  if (HAL_RCC_OscConfig(&RCC_OscInitStruct) != HAL_OK)
  {
    Error_Handler();
  }

  /** Initializes the CPU, AHB and APB buses clocks
  */
  RCC_ClkInitStruct.ClockType = RCC_CLOCKTYPE_HCLK|RCC_CLOCKTYPE_SYSCLK
                              |RCC_CLOCKTYPE_PCLK1|RCC_CLOCKTYPE_PCLK2;
  RCC_ClkInitStruct.SYSCLKSource = RCC_SYSCLKSOURCE_PLLCLK;
  RCC_ClkInitStruct.AHBCLKDivider = RCC_SYSCLK_DIV1;
  RCC_ClkInitStruct.APB1CLKDivider = RCC_HCLK_DIV1;
  RCC_ClkInitStruct.APB2CLKDivider = RCC_HCLK_DIV1;

  if (HAL_RCC_ClockConfig(&RCC_ClkInitStruct, FLASH_LATENCY_4) != HAL_OK)
  {
    Error_Handler();
  }
}

static void MX_LPUART1_UART_Init(void)
{

  hlpuart1.Instance = LPUART1;
  hlpuart1.Init.BaudRate = 209700;
  hlpuart1.Init.WordLength = UART_WORDLENGTH_8B;
  hlpuart1.Init.StopBits = UART_STOPBITS_1;
  hlpuart1.Init.Parity = UART_PARITY_NONE;
  hlpuart1.Init.Mode = UART_MODE_TX_RX;
  hlpuart1.Init.HwFlowCtl = UART_HWCONTROL_NONE;
  hlpuart1.Init.OneBitSampling = UART_ONE_BIT_SAMPLE_DISABLE;
  hlpuart1.Init.ClockPrescaler = UART_PRESCALER_DIV1;
  hlpuart1.AdvancedInit.AdvFeatureInit = UART_ADVFEATURE_NO_INIT;
  if (HAL_UART_Init(&hlpuart1) != HAL_OK)
  {
    Error_Handler();
  }
  if (HAL_UARTEx_SetTxFifoThreshold(&hlpuart1, UART_TXFIFO_THRESHOLD_1_8) != HAL_OK)
  {
    Error_Handler();
  }
  if (HAL_UARTEx_SetRxFifoThreshold(&hlpuart1, UART_RXFIFO_THRESHOLD_1_8) != HAL_OK)
  {
    Error_Handler();
  }
  if (HAL_UARTEx_DisableFifoMode(&hlpuart1) != HAL_OK)
  {
    Error_Handler();
  }

}

static void MX_USART1_UART_Init(void)
{

  huart1.Instance = USART1;
  huart1.Init.BaudRate = 9600;
  huart1.Init.WordLength = UART_WORDLENGTH_8B;
  huart1.Init.StopBits = UART_STOPBITS_1;
  huart1.Init.Parity = UART_PARITY_NONE;
  huart1.Init.Mode = UART_MODE_TX_RX;
  huart1.Init.HwFlowCtl = UART_HWCONTROL_NONE;
  huart1.Init.OverSampling = UART_OVERSAMPLING_16;
  huart1.Init.OneBitSampling = UART_ONE_BIT_SAMPLE_DISABLE;
  huart1.Init.ClockPrescaler = UART_PRESCALER_DIV1;
  huart1.AdvancedInit.AdvFeatureInit = UART_ADVFEATURE_NO_INIT;
  if (HAL_UART_Init(&huart1) != HAL_OK)
  {
    Error_Handler();
  }
  if (HAL_UARTEx_SetTxFifoThreshold(&huart1, UART_TXFIFO_THRESHOLD_1_8) != HAL_OK)
  {
    Error_Handler();
  }
  if (HAL_UARTEx_SetRxFifoThreshold(&huart1, UART_RXFIFO_THRESHOLD_1_8) != HAL_OK)
  {
    Error_Handler();
  }
  if (HAL_UARTEx_DisableFifoMode(&huart1) != HAL_OK)
  {
    Error_Handler();
  }

}

static void MX_USART2_UART_Init(void)
{

  huart2.Instance = USART2;
  huart2.Init.BaudRate = 57600;
  huart2.Init.WordLength = UART_WORDLENGTH_8B;
  huart2.Init.StopBits = UART_STOPBITS_1;
  huart2.Init.Parity = UART_PARITY_NONE;
  huart2.Init.Mode = UART_MODE_TX_RX;
  huart2.Init.HwFlowCtl = UART_HWCONTROL_NONE;
  huart2.Init.OverSampling = UART_OVERSAMPLING_16;
  huart2.Init.OneBitSampling = UART_ONE_BIT_SAMPLE_DISABLE;
  huart2.Init.ClockPrescaler = UART_PRESCALER_DIV1;
  huart2.AdvancedInit.AdvFeatureInit = UART_ADVFEATURE_NO_INIT;
  if (HAL_UART_Init(&huart2) != HAL_OK)
  {
    Error_Handler();
  }
  if (HAL_UARTEx_SetTxFifoThreshold(&huart2, UART_TXFIFO_THRESHOLD_1_8) != HAL_OK)
  {
    Error_Handler();
  }
  if (HAL_UARTEx_SetRxFifoThreshold(&huart2, UART_RXFIFO_THRESHOLD_1_8) != HAL_OK)
  {
    Error_Handler();
  }
  if (HAL_UARTEx_DisableFifoMode(&huart2) != HAL_OK)
  {
    Error_Handler();
  }

}

static void MX_USART3_UART_Init(void)
{

  huart3.Instance = USART3;
  huart3.Init.BaudRate = 115200;
  huart3.Init.WordLength = UART_WORDLENGTH_8B;
  huart3.Init.StopBits = UART_STOPBITS_1;
  huart3.Init.Parity = UART_PARITY_NONE;
  huart3.Init.Mode = UART_MODE_TX_RX;
  huart3.Init.HwFlowCtl = UART_HWCONTROL_NONE;
  huart3.Init.OverSampling = UART_OVERSAMPLING_16;
  huart3.Init.OneBitSampling = UART_ONE_BIT_SAMPLE_DISABLE;
  huart3.Init.ClockPrescaler = UART_PRESCALER_DIV1;
  huart3.AdvancedInit.AdvFeatureInit = UART_ADVFEATURE_NO_INIT;
  if (HAL_UART_Init(&huart3) != HAL_OK)
  {
    Error_Handler();
  }
  if (HAL_UARTEx_SetTxFifoThreshold(&huart3, UART_TXFIFO_THRESHOLD_1_8) != HAL_OK)
  {
    Error_Handler();
  }
  if (HAL_UARTEx_SetRxFifoThreshold(&huart3, UART_RXFIFO_THRESHOLD_1_8) != HAL_OK)
  {
    Error_Handler();
  }
  if (HAL_UARTEx_DisableFifoMode(&huart3) != HAL_OK)
  {
    Error_Handler();
  }

}

static void MX_TIM1_Init(void)
{

  TIM_MasterConfigTypeDef sMasterConfig = {0};
  TIM_OC_InitTypeDef sConfigOC = {0};
  TIM_BreakDeadTimeConfigTypeDef sBreakDeadTimeConfig = {0};

  htim1.Instance = TIM1;
  htim1.Init.Prescaler = 0;
  htim1.Init.CounterMode = TIM_COUNTERMODE_UP;
  htim1.Init.Period = 65535;
  htim1.Init.ClockDivision = TIM_CLOCKDIVISION_DIV1;
  htim1.Init.RepetitionCounter = 0;
  htim1.Init.AutoReloadPreload = TIM_AUTORELOAD_PRELOAD_DISABLE;
  if (HAL_TIM_PWM_Init(&htim1) != HAL_OK)
  {
    Error_Handler();
  }
  sMasterConfig.MasterOutputTrigger = TIM_TRGO_RESET;
  sMasterConfig.MasterOutputTrigger2 = TIM_TRGO2_RESET;
  sMasterConfig.MasterSlaveMode = TIM_MASTERSLAVEMODE_DISABLE;
  if (HAL_TIMEx_MasterConfigSynchronization(&htim1, &sMasterConfig) != HAL_OK)
  {
    Error_Handler();
  }
  sConfigOC.OCMode = TIM_OCMODE_PWM1;
  sConfigOC.Pulse = 0;
  sConfigOC.OCPolarity = TIM_OCPOLARITY_HIGH;
  sConfigOC.OCNPolarity = TIM_OCNPOLARITY_HIGH;
  sConfigOC.OCFastMode = TIM_OCFAST_DISABLE;
  sConfigOC.OCIdleState = TIM_OCIDLESTATE_RESET;
  sConfigOC.OCNIdleState = TIM_OCNIDLESTATE_RESET;
  if (HAL_TIM_PWM_ConfigChannel(&htim1, &sConfigOC, TIM_CHANNEL_1) != HAL_OK)
  {
    Error_Handler();
  }
  if (HAL_TIM_PWM_ConfigChannel(&htim1, &sConfigOC, TIM_CHANNEL_2) != HAL_OK)
  {
    Error_Handler();
  }
  sBreakDeadTimeConfig.OffStateRunMode = TIM_OSSR_DISABLE;
  sBreakDeadTimeConfig.OffStateIDLEMode = TIM_OSSI_DISABLE;
  sBreakDeadTimeConfig.LockLevel = TIM_LOCKLEVEL_OFF;
  sBreakDeadTimeConfig.DeadTime = 0;
  sBreakDeadTimeConfig.BreakState = TIM_BREAK_DISABLE;
  sBreakDeadTimeConfig.BreakPolarity = TIM_BREAKPOLARITY_HIGH;
  sBreakDeadTimeConfig.BreakFilter = 0;
  sBreakDeadTimeConfig.BreakAFMode = TIM_BREAK_AFMODE_INPUT;
  sBreakDeadTimeConfig.Break2State = TIM_BREAK2_DISABLE;
  sBreakDeadTimeConfig.Break2Polarity = TIM_BREAK2POLARITY_HIGH;
  sBreakDeadTimeConfig.Break2Filter = 0;
  sBreakDeadTimeConfig.Break2AFMode = TIM_BREAK_AFMODE_INPUT;
  sBreakDeadTimeConfig.AutomaticOutput = TIM_AUTOMATICOUTPUT_DISABLE;
  if (HAL_TIMEx_ConfigBreakDeadTime(&htim1, &sBreakDeadTimeConfig) != HAL_OK)
  {
    Error_Handler();
  }
  HAL_TIM_MspPostInit(&htim1);

}

static void MX_TIM3_Init(void)
{

  TIM_MasterConfigTypeDef sMasterConfig = {0};
  TIM_OC_InitTypeDef sConfigOC = {0};

  htim3.Instance = TIM3;
  htim3.Init.Prescaler = 0;
  htim3.Init.CounterMode = TIM_COUNTERMODE_UP;
  htim3.Init.Period = 65535;
  htim3.Init.ClockDivision = TIM_CLOCKDIVISION_DIV1;
  htim3.Init.AutoReloadPreload = TIM_AUTORELOAD_PRELOAD_DISABLE;
  if (HAL_TIM_OC_Init(&htim3) != HAL_OK)
  {
    Error_Handler();
  }
  sMasterConfig.MasterOutputTrigger = TIM_TRGO_RESET;
  sMasterConfig.MasterSlaveMode = TIM_MASTERSLAVEMODE_DISABLE;
  if (HAL_TIMEx_MasterConfigSynchronization(&htim3, &sMasterConfig) != HAL_OK)
  {
    Error_Handler();
  }
  sConfigOC.OCMode = TIM_OCMODE_TOGGLE;
  sConfigOC.Pulse = 0;
  sConfigOC.OCPolarity = TIM_OCPOLARITY_HIGH;
  sConfigOC.OCFastMode = TIM_OCFAST_DISABLE;
  if (HAL_TIM_OC_ConfigChannel(&htim3, &sConfigOC, TIM_CHANNEL_1) != HAL_OK)
  {
    Error_Handler();
  }
  HAL_TIM_MspPostInit(&htim3);

}

static void MX_TIM4_Init(void)
{

  TIM_MasterConfigTypeDef sMasterConfig = {0};
  TIM_OC_InitTypeDef sConfigOC = {0};

  htim4.Instance = TIM4;
  htim4.Init.Prescaler = 0;
  htim4.Init.CounterMode = TIM_COUNTERMODE_UP;
  htim4.Init.Period = 65535;
  htim4.Init.ClockDivision = TIM_CLOCKDIVISION_DIV1;
  htim4.Init.AutoReloadPreload = TIM_AUTORELOAD_PRELOAD_DISABLE;
  if (HAL_TIM_OC_Init(&htim4) != HAL_OK)
  {
    Error_Handler();
  }
  sMasterConfig.MasterOutputTrigger = TIM_TRGO_RESET;
  sMasterConfig.MasterSlaveMode = TIM_MASTERSLAVEMODE_DISABLE;
  if (HAL_TIMEx_MasterConfigSynchronization(&htim4, &sMasterConfig) != HAL_OK)
  {
    Error_Handler();
  }
  sConfigOC.OCMode = TIM_OCMODE_TOGGLE;
  sConfigOC.Pulse = 0;
  sConfigOC.OCPolarity = TIM_OCPOLARITY_HIGH;
  sConfigOC.OCFastMode = TIM_OCFAST_DISABLE;
  if (HAL_TIM_OC_ConfigChannel(&htim4, &sConfigOC, TIM_CHANNEL_2) != HAL_OK)
  {
    Error_Handler();
  }
  HAL_TIM_MspPostInit(&htim4);

}

static void MX_TIM8_Init(void)
{

  TIM_MasterConfigTypeDef sMasterConfig = {0};
  TIM_OC_InitTypeDef sConfigOC = {0};
  TIM_BreakDeadTimeConfigTypeDef sBreakDeadTimeConfig = {0};

  htim8.Instance = TIM8;
  htim8.Init.Prescaler = 0;
  htim8.Init.CounterMode = TIM_COUNTERMODE_UP;
  htim8.Init.Period = 65535;
  htim8.Init.ClockDivision = TIM_CLOCKDIVISION_DIV1;
  htim8.Init.RepetitionCounter = 0;
  htim8.Init.AutoReloadPreload = TIM_AUTORELOAD_PRELOAD_DISABLE;
  if (HAL_TIM_OC_Init(&htim8) != HAL_OK)
  {
    Error_Handler();
  }
  sMasterConfig.MasterOutputTrigger = TIM_TRGO_RESET;
  sMasterConfig.MasterOutputTrigger2 = TIM_TRGO2_RESET;
  sMasterConfig.MasterSlaveMode = TIM_MASTERSLAVEMODE_DISABLE;
  if (HAL_TIMEx_MasterConfigSynchronization(&htim8, &sMasterConfig) != HAL_OK)
  {
    Error_Handler();
  }
  sConfigOC.OCMode = TIM_OCMODE_TOGGLE;
  sConfigOC.Pulse = 0;
  sConfigOC.OCPolarity = TIM_OCPOLARITY_HIGH;
  sConfigOC.OCNPolarity = TIM_OCNPOLARITY_HIGH;
  sConfigOC.OCFastMode = TIM_OCFAST_DISABLE;
  sConfigOC.OCIdleState = TIM_OCIDLESTATE_RESET;
  sConfigOC.OCNIdleState = TIM_OCNIDLESTATE_RESET;
  if (HAL_TIM_OC_ConfigChannel(&htim8, &sConfigOC, TIM_CHANNEL_1) != HAL_OK)
  {
    Error_Handler();
  }
  sBreakDeadTimeConfig.OffStateRunMode = TIM_OSSR_DISABLE;
  sBreakDeadTimeConfig.OffStateIDLEMode = TIM_OSSI_DISABLE;
  sBreakDeadTimeConfig.LockLevel = TIM_LOCKLEVEL_OFF;
  sBreakDeadTimeConfig.DeadTime = 0;
  sBreakDeadTimeConfig.BreakState = TIM_BREAK_DISABLE;
  sBreakDeadTimeConfig.BreakPolarity = TIM_BREAKPOLARITY_HIGH;
  sBreakDeadTimeConfig.BreakFilter = 0;
  sBreakDeadTimeConfig.BreakAFMode = TIM_BREAK_AFMODE_INPUT;
  sBreakDeadTimeConfig.Break2State = TIM_BREAK2_DISABLE;
  sBreakDeadTimeConfig.Break2Polarity = TIM_BREAK2POLARITY_HIGH;
  sBreakDeadTimeConfig.Break2Filter = 0;
  sBreakDeadTimeConfig.Break2AFMode = TIM_BREAK_AFMODE_INPUT;
  sBreakDeadTimeConfig.AutomaticOutput = TIM_AUTOMATICOUTPUT_DISABLE;
  if (HAL_TIMEx_ConfigBreakDeadTime(&htim8, &sBreakDeadTimeConfig) != HAL_OK)
  {
    Error_Handler();
  }
  HAL_TIM_MspPostInit(&htim8);

}

static void MX_TIM15_Init(void)
{

  TIM_MasterConfigTypeDef sMasterConfig = {0};
  TIM_OC_InitTypeDef sConfigOC = {0};
  TIM_BreakDeadTimeConfigTypeDef sBreakDeadTimeConfig = {0};

  htim15.Instance = TIM15;
  htim15.Init.Prescaler = 0;
  htim15.Init.CounterMode = TIM_COUNTERMODE_UP;
  htim15.Init.Period = 65535;
  htim15.Init.ClockDivision = TIM_CLOCKDIVISION_DIV1;
  htim15.Init.RepetitionCounter = 0;
  htim15.Init.AutoReloadPreload = TIM_AUTORELOAD_PRELOAD_DISABLE;
  if (HAL_TIM_OC_Init(&htim15) != HAL_OK)
  {
    Error_Handler();
  }
  sMasterConfig.MasterOutputTrigger = TIM_TRGO_RESET;
  sMasterConfig.MasterSlaveMode = TIM_MASTERSLAVEMODE_DISABLE;
  if (HAL_TIMEx_MasterConfigSynchronization(&htim15, &sMasterConfig) != HAL_OK)
  {
    Error_Handler();
  }
  sConfigOC.OCMode = TIM_OCMODE_TOGGLE;
  sConfigOC.Pulse = 0;
  sConfigOC.OCPolarity = TIM_OCPOLARITY_HIGH;
  sConfigOC.OCNPolarity = TIM_OCNPOLARITY_HIGH;
  sConfigOC.OCFastMode = TIM_OCFAST_DISABLE;
  sConfigOC.OCIdleState = TIM_OCIDLESTATE_RESET;
  sConfigOC.OCNIdleState = TIM_OCNIDLESTATE_RESET;
  if (HAL_TIM_OC_ConfigChannel(&htim15, &sConfigOC, TIM_CHANNEL_1) != HAL_OK)
  {
    Error_Handler();
  }
  sBreakDeadTimeConfig.OffStateRunMode = TIM_OSSR_DISABLE;
  sBreakDeadTimeConfig.OffStateIDLEMode = TIM_OSSI_DISABLE;
  sBreakDeadTimeConfig.LockLevel = TIM_LOCKLEVEL_OFF;
  sBreakDeadTimeConfig.DeadTime = 0;
  sBreakDeadTimeConfig.BreakState = TIM_BREAK_DISABLE;
  sBreakDeadTimeConfig.BreakPolarity = TIM_BREAKPOLARITY_HIGH;
  sBreakDeadTimeConfig.BreakFilter = 0;
  sBreakDeadTimeConfig.AutomaticOutput = TIM_AUTOMATICOUTPUT_DISABLE;
  if (HAL_TIMEx_ConfigBreakDeadTime(&htim15, &sBreakDeadTimeConfig) != HAL_OK)
  {
    Error_Handler();
  }
  HAL_TIM_MspPostInit(&htim15);

}

static void MX_USB_PCD_Init(void)
{

  hpcd_USB_FS.Instance = USB;
  hpcd_USB_FS.Init.dev_endpoints = 8;
  hpcd_USB_FS.Init.speed = PCD_SPEED_FULL;
  hpcd_USB_FS.Init.phy_itface = PCD_PHY_EMBEDDED;
  hpcd_USB_FS.Init.Sof_enable = DISABLE;
  hpcd_USB_FS.Init.low_power_enable = DISABLE;
  hpcd_USB_FS.Init.lpm_enable = DISABLE;
  hpcd_USB_FS.Init.battery_charging_enable = DISABLE;
  if (HAL_PCD_Init(&hpcd_USB_FS) != HAL_OK)
  {
    Error_Handler();
  }

}

static void MX_GPIO_Init(void)
{
  GPIO_InitTypeDef GPIO_InitStruct = {0};

  /* GPIO Ports Clock Enable */
  __HAL_RCC_GPIOC_CLK_ENABLE();
  __HAL_RCC_GPIOA_CLK_ENABLE();
  __HAL_RCC_GPIOB_CLK_ENABLE();
  __HAL_RCC_GPIOD_CLK_ENABLE();

  /*Configure GPIO pin Output Level */
  HAL_GPIO_WritePin(GPIOC, MotorS_1_Pin|LinearR_5_Pin|MotorS_3_Pin|LinearR_7_Pin
                          |MotorS_2_Pin|LinearR_1_Pin|LinearL_4_Pin|LinearR_0_Pin
                          |LinearR_4_Pin, GPIO_PIN_RESET);

  /*Configure GPIO pin Output Level */
  HAL_GPIO_WritePin(GPIOA, LinearR_2_Pin|LinearL_2_Pin|LinearL_5_Pin|MotorS_0_Pin
                          |LinearL_1_Pin|LinearL_6_Pin|LinearL_7_Pin|LinearR_6_Pin, GPIO_PIN_RESET);

  /*Configure GPIO pin Output Level */
  HAL_GPIO_WritePin(GPIOB, LED_Jetson_Pin|LED_RF_Pin|LED_Heartbeat_Pin|LinearL_3_Pin
                          |LinearR_3_Pin, GPIO_PIN_RESET);

  /*Configure GPIO pin Output Level */
  HAL_GPIO_WritePin(LinearL_0_GPIO_Port, LinearL_0_Pin, GPIO_PIN_RESET);

  /*Configure GPIO pins : MotorS_1_Pin LinearR_5_Pin MotorS_3_Pin LinearR_7_Pin
                           MotorS_2_Pin LinearR_1_Pin LinearL_4_Pin LinearR_0_Pin
                           LinearR_4_Pin */
  GPIO_InitStruct.Pin = MotorS_1_Pin|LinearR_5_Pin|MotorS_3_Pin|LinearR_7_Pin
                          |MotorS_2_Pin|LinearR_1_Pin|LinearL_4_Pin|LinearR_0_Pin
                          |LinearR_4_Pin;
  GPIO_InitStruct.Mode = GPIO_MODE_OUTPUT_PP;
  GPIO_InitStruct.Pull = GPIO_NOPULL;
  GPIO_InitStruct.Speed = GPIO_SPEED_FREQ_LOW;
  HAL_GPIO_Init(GPIOC, &GPIO_InitStruct);

  /*Configure GPIO pins : LinearR_2_Pin LinearL_2_Pin LinearL_5_Pin MotorS_0_Pin
                           LinearL_1_Pin LinearL_6_Pin LinearL_7_Pin LinearR_6_Pin */
  GPIO_InitStruct.Pin = LinearR_2_Pin|LinearL_2_Pin|LinearL_5_Pin|MotorS_0_Pin
                          |LinearL_1_Pin|LinearL_6_Pin|LinearL_7_Pin|LinearR_6_Pin;
  GPIO_InitStruct.Mode = GPIO_MODE_OUTPUT_PP;
  GPIO_InitStruct.Pull = GPIO_NOPULL;
  GPIO_InitStruct.Speed = GPIO_SPEED_FREQ_LOW;
  HAL_GPIO_Init(GPIOA, &GPIO_InitStruct);

  /*Configure GPIO pins : LED_Jetson_Pin LED_RF_Pin LED_Heartbeat_Pin LinearL_3_Pin
                           LinearR_3_Pin */
  GPIO_InitStruct.Pin = LED_Jetson_Pin|LED_RF_Pin|LED_Heartbeat_Pin|LinearL_3_Pin
                          |LinearR_3_Pin;
  GPIO_InitStruct.Mode = GPIO_MODE_OUTPUT_PP;
  GPIO_InitStruct.Pull = GPIO_NOPULL;
  GPIO_InitStruct.Speed = GPIO_SPEED_FREQ_LOW;
  HAL_GPIO_Init(GPIOB, &GPIO_InitStruct);

  /*Configure GPIO pin : LinearL_0_Pin */
  GPIO_InitStruct.Pin = LinearL_0_Pin;
  GPIO_InitStruct.Mode = GPIO_MODE_OUTPUT_PP;
  GPIO_InitStruct.Pull = GPIO_NOPULL;
  GPIO_InitStruct.Speed = GPIO_SPEED_FREQ_LOW;
  HAL_GPIO_Init(LinearL_0_GPIO_Port, &GPIO_InitStruct);

}

void Error_Handler(void)
{
  __disable_irq();
  while (1)
  {
  }
}
